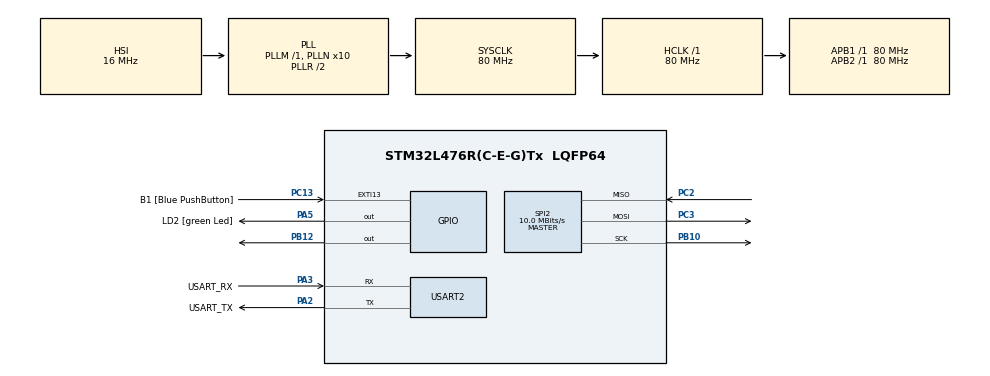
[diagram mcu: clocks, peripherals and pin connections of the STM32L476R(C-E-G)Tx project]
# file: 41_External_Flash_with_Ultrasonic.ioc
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Mcu.Family=STM32L4
Mcu.Name=STM32L476R(C-E-G)Tx
Mcu.Package=LQFP64
NVIC.PriorityGroup=NVIC_PRIORITYGROUP_4
PA13\ (JTMS-SWDIO).GPIO_Label=TMS
PA13\ (JTMS-SWDIO).Mode=Serial_Wire
PA13\ (JTMS-SWDIO).Signal=SYS_JTMS-SWDIO
PA14\ (JTCK-SWCLK).GPIO_Label=TCK
PA14\ (JTCK-SWCLK).Mode=Serial_Wire
PA14\ (JTCK-SWCLK).Signal=SYS_JTCK-SWCLK
PA2.GPIO_Label=USART_TX
PA2.GPIO_Mode=GPIO_MODE_AF_PP
PA2.GPIO_PuPd=GPIO_NOPULL
PA2.GPIO_Speed=GPIO_SPEED_FREQ_VERY_HIGH
PA2.Mode=Asynchronous
PA2.Signal=USART2_TX
PA3.GPIO_Label=USART_RX
PA3.GPIO_Mode=GPIO_MODE_AF_PP
PA3.GPIO_PuPd=GPIO_NOPULL
PA3.GPIO_Speed=GPIO_SPEED_FREQ_VERY_HIGH
PA3.Mode=Asynchronous
PA3.Signal=USART2_RX
PA5.GPIO_Label=LD2 [green Led]
PA5.GPIO_ModeDefaultOutputPP=GPIO_MODE_OUTPUT_PP
PA5.GPIO_PuPd=GPIO_NOPULL
PA5.GPIO_Speed=GPIO_SPEED_FREQ_LOW
PA5.Signal=GPIO_Output
PB10.Mode=Full_Duplex_Master
PB10.Signal=SPI2_SCK
PB12.Signal=GPIO_Output
PB3\ (JTDO-TRACESWO).GPIO_Label=SWO
PB3\ (JTDO-TRACESWO).Signal=SYS_JTDO-SWO
PC13.GPIO_Label=B1 [Blue PushButton]
PC13.GPIO_ModeDefaultEXTI=GPIO_MODE_IT_FALLING
PC13.GPIO_PuPd=GPIO_NOPULL
PC13.Signal=GPXTI13
PC14-OSC32_IN\ (PC14).Mode=LSE-External-Oscillator
PC14-OSC32_IN\ (PC14).Signal=RCC_OSC32_IN
PC15-OSC32_OUT\ (PC15).Mode=LSE-External-Oscillator
PC15-OSC32_OUT\ (PC15).Signal=RCC_OSC32_OUT
PC2.Mode=Full_Duplex_Master
PC2.Signal=SPI2_MISO
PC3.Mode=Full_Duplex_Master
PC3.Signal=SPI2_MOSI
PH0-OSC_IN\ (PH0).Signal=RCC_OSC_IN
PH1-OSC_OUT\ (PH1).Signal=RCC_OSC_OUT
ProjectManager.HeapSize=0x200
ProjectManager.StackSize=0x400
ProjectManager.TargetToolchain=STM32CubeIDE
RCC.ADCFreq_Value=64000000
RCC.AHBFreq_Value=80000000
RCC.APB1Freq_Value=80000000
RCC.APB1TimFreq_Value=80000000
RCC.APB2Freq_Value=80000000
RCC.APB2TimFreq_Value=80000000
RCC.CortexFreq_Value=80000000
RCC.HCLKFreq_Value=80000000
RCC.HSE_VALUE=8000000
RCC.HSI_VALUE=16000000
RCC.MSI_VALUE=4000000
RCC.PLLN=10
RCC.PLLSourceVirtual=RCC_PLLSOURCE_HSI
RCC.PREFETCH_ENABLE=1
RCC.SYSCLKFreq_VALUE=80000000
RCC.SYSCLKSource=RCC_SYSCLKSOURCE_PLLCLK
RCC.USBFreq_Value=64000000
RCC.VCOOutputFreq_Value=160000000
SPI2.BaudRatePrescaler=SPI_BAUDRATEPRESCALER_8
SPI2.CalculateBaudRate=10.0 MBits/s
SPI2.DataSize=SPI_DATASIZE_8BIT
SPI2.Direction=SPI_DIRECTION_2LINES
SPI2.Mode=SPI_MODE_MASTER
SPI2.VirtualType=VM_MASTER
USART2.VirtualMode-Asynchronous=VM_ASYNC
board=NUCLEO-L476RG

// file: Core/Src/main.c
/* USER CODE BEGIN Header */
/**
  ******************************************************************************
  * @file           : main.c
  * @brief          : Main program body
  ******************************************************************************
  * @attention
  *
  * Copyright (c) 2025 STMicroelectronics.
  * All rights reserved.
  *
  * This software is licensed under terms that can be found in the LICENSE file
  * in the root directory of this software component.
  * If no LICENSE file comes with this software, it is provided AS-IS.
  *
  ******************************************************************************
  */
/* USER CODE END Header */
#include "main.h"

/* USER CODE BEGIN PTD */
#define W25Q_CS_LOW()   HAL_GPIO_WritePin(GPIOB, GPIO_PIN_12, GPIO_PIN_RESET)
#define W25Q_CS_HIGH()  HAL_GPIO_WritePin(GPIOB, GPIO_PIN_12, GPIO_PIN_SET)
/* USER CODE END PTD */

/* USER CODE BEGIN PD */
char uart_buf[64];
/* USER CODE END PD */

SPI_HandleTypeDef hspi2;

UART_HandleTypeDef huart2;

void SystemClock_Config(void);
static void MX_GPIO_Init(void);
static void MX_USART2_UART_Init(void);
static void MX_SPI2_Init(void);
/* USER CODE BEGIN PFP */
static uint8_t W25Qxx_ReadSR1(void)
{
    uint8_t cmd = 0x05;
    uint8_t sr1 = 0;

    W25Q_CS_LOW();
    HAL_SPI_Transmit(&hspi2, &cmd, 1, 100);
    HAL_SPI_Receive(&hspi2, &sr1, 1, 100);
    W25Q_CS_HIGH();

    return sr1;
}

// ================== Wait until flash is not busy ==================
static void W25Qxx_WaitBusy(void)
{
    while (W25Qxx_ReadSR1() & 0x01)
    {
        HAL_Delay(1);
    }
}

// ================== Erase one sector (4KB) ==================
void W25Qxx_EraseSector(uint32_t addr)
{
    uint8_t cmd[4];
    uint8_t we = 0x06;

    // Write Enable
    W25Q_CS_LOW();
    HAL_SPI_Transmit(&hspi2, &we, 1, HAL_MAX_DELAY);
    W25Q_CS_HIGH();

    // Sector Erase Command
    cmd[0] = 0x20;
    cmd[1] = (addr >> 16) & 0xFF;
    cmd[2] = (addr >> 8) & 0xFF;
    cmd[3] = addr & 0xFF;

    W25Q_CS_LOW();
    HAL_SPI_Transmit(&hspi2, cmd, 4, HAL_MAX_DELAY);
    W25Q_CS_HIGH();

    W25Qxx_WaitBusy();
    HAL_Delay(50);
}

// ================== Read flash JEDEC ID ==================
void W25Qxx_Init(void)
{
    uint8_t cmd = 0x9F;
    uint8_t id[3];
    char buf[50];

    W25Q_CS_LOW();
    HAL_SPI_Transmit(&hspi2, &cmd, 1, HAL_MAX_DELAY);
    HAL_SPI_Receive(&hspi2, id, 3, HAL_MAX_DELAY);
    W25Q_CS_HIGH();

    sprintf(buf, "W25Q ID: %02X %02X %02X\r\n", id[0], id[1], id[2]);
    HAL_UART_Transmit(&huart2, (uint8_t*)buf, strlen(buf), 1000);
}

// ================== Read data ==================
void W25Qxx_Read(uint32_t addr, uint8_t *buffer, uint16_t size)
{
    uint8_t cmd[4];

    cmd[0] = 0x03;
    cmd[1] = (addr >> 16) & 0xFF;
    cmd[2] = (addr >> 8) & 0xFF;
    cmd[3] = addr & 0xFF;

    W25Q_CS_LOW();
    HAL_SPI_Transmit(&hspi2, cmd, 4, HAL_MAX_DELAY);
    HAL_SPI_Receive(&hspi2, buffer, size, HAL_MAX_DELAY);
    W25Q_CS_HIGH();
}

// ================== Write data ==================
void W25Qxx_Write(uint32_t addr, uint8_t *buffer, uint16_t size)
{
    uint8_t cmd[4];
    uint8_t we = 0x06;

    // Write Enable
    W25Q_CS_LOW();
    HAL_SPI_Transmit(&hspi2, &we, 1, HAL_MAX_DELAY);
    W25Q_CS_HIGH();

    cmd[0] = 0x02;
    cmd[1] = (addr >> 16) & 0xFF;
    cmd[2] = (addr >> 8) & 0xFF;
    cmd[3] = addr & 0xFF;

    W25Q_CS_LOW();
    HAL_SPI_Transmit(&hspi2, cmd, 4, HAL_MAX_DELAY);
    HAL_SPI_Transmit(&hspi2, buffer, size, HAL_MAX_DELAY);
    W25Q_CS_HIGH();

    W25Qxx_WaitBusy();
}

/* USER CODE END PFP */

int main(void)
{

  /* MCU Configuration--------------------------------------------------------*/

  /* Reset of all peripherals, Initializes the Flash interface and the Systick. */
  HAL_Init();

  /* Configure the system clock */
  SystemClock_Config();

  /* Initialize all configured peripherals */
  MX_GPIO_Init();
  MX_USART2_UART_Init();
  MX_SPI2_Init();
  /* USER CODE BEGIN 2 */
  HAL_GPIO_WritePin(GPIOB, GPIO_PIN_12, GPIO_PIN_SET); // CS HIGH

  // ==================== FLASH TEST ====================
  uint8_t readBuf[20] = {0};
  uint8_t writeData[] = "1234567K";

  // Erase sector
  W25Qxx_EraseSector(0x0000);
  HAL_Delay(100);

  // Read JEDEC ID
  W25Qxx_Init();

  // Write data to flash
  W25Qxx_Write(0x0000, writeData, strlen((char*)writeData));

  // Read data back
  W25Qxx_Read(0x0000, readBuf, strlen((char*)writeData));

  // Transmit the read data to UART
  sprintf(uart_buf, "Read Back: %s\r\n", readBuf);
  HAL_UART_Transmit(&huart2, (uint8_t*)uart_buf, strlen(uart_buf), 1000);

  /* USER CODE END 2 */

  /* Infinite loop */
  while (1)
  {
	  HAL_GPIO_TogglePin(GPIOA, GPIO_PIN_5);
	     HAL_Delay(500);
  }
}

void SystemClock_Config(void)
{
  RCC_OscInitTypeDef RCC_OscInitStruct = {0};
  RCC_ClkInitTypeDef RCC_ClkInitStruct = {0};

  /** Configure the main internal regulator output voltage
  */
  if (HAL_PWREx_ControlVoltageScaling(PWR_REGULATOR_VOLTAGE_SCALE1) != HAL_OK)
  {
    Error_Handler();
  }

  /** Initializes the RCC Oscillators according to the specified parameters
  * in the RCC_OscInitTypeDef structure.
  */
  RCC_OscInitStruct.OscillatorType = RCC_OSCILLATORTYPE_HSI;
  RCC_OscInitStruct.HSIState = RCC_HSI_ON;
  RCC_OscInitStruct.HSICalibrationValue = RCC_HSICALIBRATION_DEFAULT;
  RCC_OscInitStruct.PLL.PLLState = RCC_PLL_ON;
  RCC_OscInitStruct.PLL.PLLSource = RCC_PLLSOURCE_HSI;
  RCC_OscInitStruct.PLL.PLLM = 1;
  RCC_OscInitStruct.PLL.PLLN = 10;
  RCC_OscInitStruct.PLL.PLLP = RCC_PLLP_DIV7;
  RCC_OscInitStruct.PLL.PLLQ = RCC_PLLQ_DIV2;
  RCC_OscInitStruct.PLL.PLLR = RCC_PLLR_DIV2;
  if (HAL_RCC_OscConfig(&RCC_OscInitStruct) != HAL_OK)
  {
    Error_Handler();
  }

  /** Initializes the CPU, AHB and APB buses clocks
  */
  RCC_ClkInitStruct.ClockType = RCC_CLOCKTYPE_HCLK|RCC_CLOCKTYPE_SYSCLK
                              |RCC_CLOCKTYPE_PCLK1|RCC_CLOCKTYPE_PCLK2;
  RCC_ClkInitStruct.SYSCLKSource = RCC_SYSCLKSOURCE_PLLCLK;
  RCC_ClkInitStruct.AHBCLKDivider = RCC_SYSCLK_DIV1;
  RCC_ClkInitStruct.APB1CLKDivider = RCC_HCLK_DIV1;
  RCC_ClkInitStruct.APB2CLKDivider = RCC_HCLK_DIV1;

  if (HAL_RCC_ClockConfig(&RCC_ClkInitStruct, FLASH_LATENCY_4) != HAL_OK)
  {
    Error_Handler();
  }
}

static void MX_SPI2_Init(void)
{

  /* SPI2 parameter configuration*/
  hspi2.Instance = SPI2;
  hspi2.Init.Mode = SPI_MODE_MASTER;
  hspi2.Init.Direction = SPI_DIRECTION_2LINES;
  hspi2.Init.DataSize = SPI_DATASIZE_8BIT;
  hspi2.Init.CLKPolarity = SPI_POLARITY_LOW;
  hspi2.Init.CLKPhase = SPI_PHASE_1EDGE;
  hspi2.Init.NSS = SPI_NSS_SOFT;
  hspi2.Init.BaudRatePrescaler = SPI_BAUDRATEPRESCALER_8;
  hspi2.Init.FirstBit = SPI_FIRSTBIT_MSB;
  hspi2.Init.TIMode = SPI_TIMODE_DISABLE;
  hspi2.Init.CRCCalculation = SPI_CRCCALCULATION_DISABLE;
  hspi2.Init.CRCPolynomial = 7;
  hspi2.Init.CRCLength = SPI_CRC_LENGTH_DATASIZE;
  hspi2.Init.NSSPMode = SPI_NSS_PULSE_ENABLE;
  if (HAL_SPI_Init(&hspi2) != HAL_OK)
  {
    Error_Handler();
  }

}

static void MX_USART2_UART_Init(void)
{

  huart2.Instance = USART2;
  huart2.Init.BaudRate = 115200;
  huart2.Init.WordLength = UART_WORDLENGTH_8B;
  huart2.Init.StopBits = UART_STOPBITS_1;
  huart2.Init.Parity = UART_PARITY_NONE;
  huart2.Init.Mode = UART_MODE_TX_RX;
  huart2.Init.HwFlowCtl = UART_HWCONTROL_NONE;
  huart2.Init.OverSampling = UART_OVERSAMPLING_16;
  huart2.Init.OneBitSampling = UART_ONE_BIT_SAMPLE_DISABLE;
  huart2.AdvancedInit.AdvFeatureInit = UART_ADVFEATURE_NO_INIT;
  if (HAL_UART_Init(&huart2) != HAL_OK)
  {
    Error_Handler();
  }

}

static void MX_GPIO_Init(void)
{
  GPIO_InitTypeDef GPIO_InitStruct = {0};

  /* GPIO Ports Clock Enable */
  __HAL_RCC_GPIOC_CLK_ENABLE();
  __HAL_RCC_GPIOH_CLK_ENABLE();
  __HAL_RCC_GPIOA_CLK_ENABLE();
  __HAL_RCC_GPIOB_CLK_ENABLE();

  /*Configure GPIO pin Output Level */
  HAL_GPIO_WritePin(LD2_GPIO_Port, LD2_Pin, GPIO_PIN_RESET);

  /*Configure GPIO pin Output Level */
  HAL_GPIO_WritePin(GPIOB, GPIO_PIN_12, GPIO_PIN_RESET);

  /*Configure GPIO pin : B1_Pin */
  GPIO_InitStruct.Pin = B1_Pin;
  GPIO_InitStruct.Mode = GPIO_MODE_IT_FALLING;
  GPIO_InitStruct.Pull = GPIO_NOPULL;
  HAL_GPIO_Init(B1_GPIO_Port, &GPIO_InitStruct);

  /*Configure GPIO pin : LD2_Pin */
  GPIO_InitStruct.Pin = LD2_Pin;
  GPIO_InitStruct.Mode = GPIO_MODE_OUTPUT_PP;
  GPIO_InitStruct.Pull = GPIO_NOPULL;
  GPIO_InitStruct.Speed = GPIO_SPEED_FREQ_LOW;
  HAL_GPIO_Init(LD2_GPIO_Port, &GPIO_InitStruct);

  /*Configure GPIO pin : PB12 */
  GPIO_InitStruct.Pin = GPIO_PIN_12;
  GPIO_InitStruct.Mode = GPIO_MODE_OUTPUT_PP;
  GPIO_InitStruct.Pull = GPIO_NOPULL;
  GPIO_InitStruct.Speed = GPIO_SPEED_FREQ_LOW;
  HAL_GPIO_Init(GPIOB, &GPIO_InitStruct);

}

void Error_Handler(void)
{
  __disable_irq();
  while (1)
  {
  }
}
